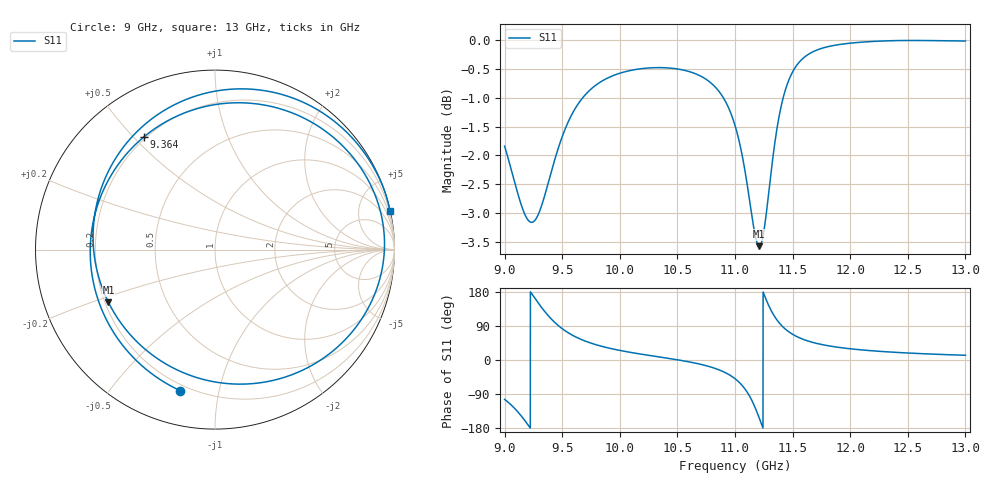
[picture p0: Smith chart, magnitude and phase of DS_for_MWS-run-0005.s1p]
! TOUCHSTONE file generated by CST DESIGN STUDIO
! Date and time: Tue Feb  4 13:04:43 2025
! Project name: C:\Work\MatlabApps\UnitCellOptimizationMatlab\CST\unitcell.cst
! Tree item: Tasks\Sweep1\SPara1\S-Parameters
! Header version: 2024
! Port assignment regex: !\s*Touchstone port\s*([0-9]+)\s*=\s*(CST MWS port|CST DES external port|CST DES block port)\s*(.+)\s* \(\"(.*)\"\)(\s*mode\s*([0-9]+))?.*
! Touchstone port assignment:
! Touchstone port 1 = CST DES external port 1 ("")
# GHz S MA R 50
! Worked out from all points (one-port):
!   4001 points, 9 GHz to 13 GHz, reference 50 ohm
!   lowest |S11| = -3.6 dB at 11.21 GHz (marker M1), VSWR 4.93, Z = 10.7 - j11.2 ohm
!   |S11| at or under -10 dB: nowhere
!   S11 on the Smith chart (normalised r, x): 9 GHz: 0.17, -0.77; 9.364 GHz: 0.19, +0.54; 13 GHz: 0.07, +9.14
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9  0.8092 -103.9
9.1  0.7448 -131.9
9.205  0.6977 -172.0
9.279  0.7014 156.0
9.364  0.7426 122.2
9.428  0.783 101.3
9.5  0.8246 82.6
9.6  0.868 63.6
9.71  0.8989 48.7
10  0.9362 25.3
10.5  0.9442 0.5
10.819  0.9127 -21.3
10.92  0.8837 -34.0
11  0.8434 -49.3
11.063  0.7937 -67.4
11.124  0.7288 -94.0
11.168  0.6828 -120.9
11.211  0.6625 -153.6
11.241  0.6743 -178.0
11.27  0.705 159.6
11.309  0.7616 133.5
11.345  0.8135 114.3
11.409  0.8838 89.5
11.5  0.9386 67.9
11.689  0.9785 45.3
12  0.9941 29.6
12.5  0.9995 18.4
13  0.9985 12.5
